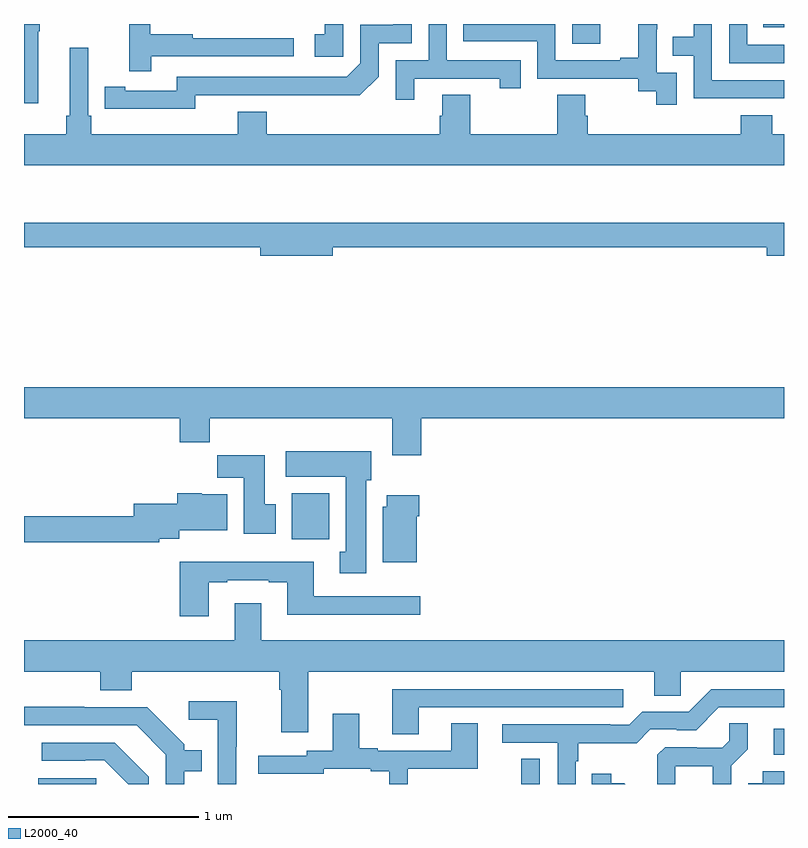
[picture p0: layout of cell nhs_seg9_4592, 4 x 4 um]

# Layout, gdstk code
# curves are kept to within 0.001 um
import gdstk
lib = gdstk.Library(unit=1e-6, precision=1e-09)
def R(c, l, rs):  # rectangles x0, y0, x1, y1
    for r in rs: c.add(gdstk.rectangle(r[:2], r[2:], *l))
def P(c, l, *ps):  # polygons
    for p in ps: c.add(gdstk.Polygon(p, *l))
L2000_40 = (2000, 40)

nhs_seg9_4592 = lib.new_cell('nhs_seg9_4592')
R(nhs_seg9_4592, L2000_40, [(375.074,1190.5,375.379,1190.529), (377.617,1190.5,377.715,1190.633), (378.945,1190.655,379,1190.791), (376.409,1191.788,376.606,1192.03), (377.886,1194.396,378.034,1194.5), (378.892,1194.482,379,1194.5)])
P(nhs_seg9_4592, L2000_40, [(375.076,1194.463),(375.084,1194.463),(375.084,1194.5),(375,1194.5),(375,1194.084),(375.076,1194.084)],
  [(379,1194.39),(378.807,1194.39),(378.807,1194.5),(378.711,1194.5),(378.711,1194.294),(379,1194.294)],
  [(376.68,1194.5),(376.583,1194.5),(376.583,1194.447),(376.53,1194.447),(376.53,1194.327),(376.68,1194.327)],
  [(379,1194.204),(378.621,1194.204),(378.621,1194.5),(378.525,1194.5),(378.525,1194.434),(378.415,1194.434),(378.415,1194.333),(378.525,1194.333),(378.525,1194.108),(379,1194.108)],
  [(378.435,1194.243),(378.33,1194.243),(378.33,1194.473),(378.332,1194.473),(378.332,1194.5),(378.233,1194.5),(378.233,1194.322),(378.137,1194.322),(378.137,1194.309),(377.796,1194.309),(377.796,1194.5),(377.311,1194.5),(377.311,1194.408),(377.7,1194.408),(377.7,1194.213),(378.234,1194.213),(378.234,1194.145),(378.327,1194.145),(378.327,1194.075),(378.435,1194.075)],
  [(377.053,1194.213),(377.504,1194.213),(377.504,1194.162),(377.615,1194.162),(377.615,1194.309),(377.226,1194.309),(377.226,1194.5),(377.13,1194.5),(377.13,1194.309),(376.956,1194.309),(376.956,1194.102),(377.053,1194.102)],
  [(375.9,1194.126),(376.768,1194.125),(376.866,1194.222),(376.866,1194.399),(377.04,1194.399),(377.04,1194.5),(376.943,1194.5),(376.943,1194.495),(376.77,1194.495),(376.77,1194.294),(376.698,1194.222),(375.804,1194.222),(375.804,1194.15),(375.532,1194.15),(375.532,1194.17),(375.424,1194.17),(375.424,1194.054),(375.9,1194.053)],
  [(375.671,1194.33),(376.42,1194.33),(376.42,1194.426),(375.887,1194.426),(375.887,1194.446),(375.664,1194.446),(375.664,1194.5),(375.554,1194.5),(375.554,1194.252),(375.671,1194.252)],
  [(379,1193.92),(378.938,1193.92),(378.938,1194.019),(378.773,1194.019),(378.773,1193.92),(377.966,1193.92),(377.966,1194.018),(377.953,1194.018),(377.953,1194.128),(377.806,1194.128),(377.806,1193.92),(377.349,1193.92),(377.349,1194.128),(377.201,1194.128),(377.201,1194.018),(377.189,1194.018),(377.189,1193.92),(376.277,1193.92),(376.277,1194.037),(376.124,1194.037),(376.124,1193.92),(375.353,1193.92),(375.353,1194.016),(375.339,1194.016),(375.339,1194.376),(375.242,1194.376),(375.242,1194.016),(375.223,1194.016),(375.223,1193.92),(375,1193.92),(375,1193.756),(379,1193.756)],
  [(376.624,1193.326),(378.908,1193.326),(378.908,1193.279),(379,1193.279),(379,1193.455),(375,1193.455),(375,1193.326),(376.244,1193.326),(376.244,1193.279),(376.624,1193.279)],
  [(377.09,1192.424),(379,1192.424),(379,1192.588),(375,1192.588),(375,1192.424),(375.821,1192.424),(375.821,1192.3),(375.977,1192.3),(375.977,1192.424),(376.937,1192.424),(376.937,1192.23),(377.09,1192.23)],
  [(376.801,1192.098),(376.828,1192.098),(376.828,1192.252),(376.377,1192.252),(376.377,1192.118),(376.694,1192.118),(376.694,1191.722),(376.661,1191.722),(376.661,1191.609),(376.801,1191.609)],
  [(376.324,1191.972),(376.267,1191.972),(376.267,1192.231),(376.018,1192.231),(376.018,1192.112),(376.157,1192.112),(376.157,1191.816),(376.324,1191.816)],
  [(375.713,1191.791),(375.817,1191.791),(375.817,1191.836),(376.069,1191.836),(376.069,1192.024),(375.936,1192.024),(375.936,1192.03),(375.806,1192.03),(375.806,1191.976),(375.578,1191.976),(375.578,1191.908),(375,1191.908),(375,1191.772),(375.713,1191.772)],
  [(377.068,1191.908),(377.081,1191.908),(377.081,1192.021),(376.91,1192.021),(376.91,1191.96),(376.889,1191.96),(376.889,1191.668),(377.068,1191.668)],
  [(375.973,1191.561),(376.069,1191.561),(376.069,1191.573),(376.289,1191.573),(376.289,1191.561),(376.385,1191.561),(376.385,1191.392),(377.086,1191.392),(377.086,1191.489),(376.525,1191.489),(376.525,1191.67),(375.821,1191.67),(375.821,1191.384),(375.973,1191.384)],
  [(376.495,1191.092),(378.317,1191.092),(378.317,1190.965),(378.456,1190.965),(378.456,1191.092),(379,1191.092),(379,1191.256),(376.249,1191.256),(376.249,1191.451),(376.109,1191.451),(376.109,1191.256),(375,1191.256),(375,1191.092),(375.401,1191.092),(375.401,1190.993),(375.566,1190.993),(375.566,1191.092),(376.343,1191.092),(376.343,1190.996),(376.355,1190.996),(376.355,1190.772),(376.495,1190.772)],
  [(377.904,1190.621),(377.917,1190.621),(377.917,1190.714),(378.224,1190.714),(378.297,1190.787),(378.436,1190.787),(378.436,1190.784),(378.537,1190.784),(378.657,1190.904),(379,1190.904),(379,1191),(378.618,1191),(378.498,1190.88),(378.255,1190.88),(378.186,1190.811),(378.086,1190.811),(378.086,1190.814),(377.517,1190.814),(377.517,1190.718),(377.808,1190.718),(377.808,1190.5),(377.904,1190.5)],
  [(377.077,1190.904),(378.154,1190.904),(378.154,1191),(376.937,1191),(376.937,1190.761),(377.077,1190.761)],
  [(376.116,1190.696),(376.119,1190.696),(376.119,1190.935),(375.867,1190.935),(375.867,1190.837),(376.02,1190.837),(376.02,1190.5),(376.116,1190.5)],
  [(375.844,1190.568),(375.935,1190.568),(375.935,1190.677),(375.843,1190.677),(375.843,1190.709),(375.648,1190.904),(375.317,1190.904),(375.317,1190.906),(375,1190.906),(375,1190.808),(375.594,1190.808),(375.747,1190.655),(375.747,1190.5),(375.844,1190.5)],
  [(377.019,1190.58),(377.389,1190.58),(377.389,1190.819),(377.249,1190.819),(377.249,1190.676),(376.861,1190.676),(376.861,1190.689),(376.765,1190.689),(376.765,1190.869),(376.625,1190.869),(376.625,1190.676),(376.488,1190.676),(376.488,1190.649),(376.233,1190.649),(376.233,1190.553),(376.578,1190.553),(376.578,1190.58),(376.826,1190.58),(376.826,1190.568),(376.922,1190.568),(376.922,1190.5),(377.019,1190.5)],
  [(378.428,1190.594),(378.626,1190.594),(378.626,1190.5),(378.723,1190.5),(378.723,1190.597),(378.809,1190.683),(378.809,1190.819),(378.711,1190.819),(378.711,1190.728),(378.674,1190.691),(378.54,1190.691),(378.54,1190.694),(378.375,1190.694),(378.334,1190.653),(378.334,1190.5),(378.428,1190.5)],
  [(375.657,1190.539),(375.478,1190.718),(375.093,1190.718),(375.093,1190.622),(375.323,1190.622),(375.323,1190.625),(375.423,1190.625),(375.548,1190.5),(375.657,1190.5)],
  [(379,1190.566),(378.887,1190.566),(378.887,1190.503),(378.812,1190.503),(378.812,1190.5),(379,1190.5)],
  [(378.16,1190.504),(378.09,1190.504),(378.09,1190.554),(377.989,1190.554),(377.989,1190.5),(378.164,1190.5)])

lib.write_gds('nhs_seg9_4592.gds')
